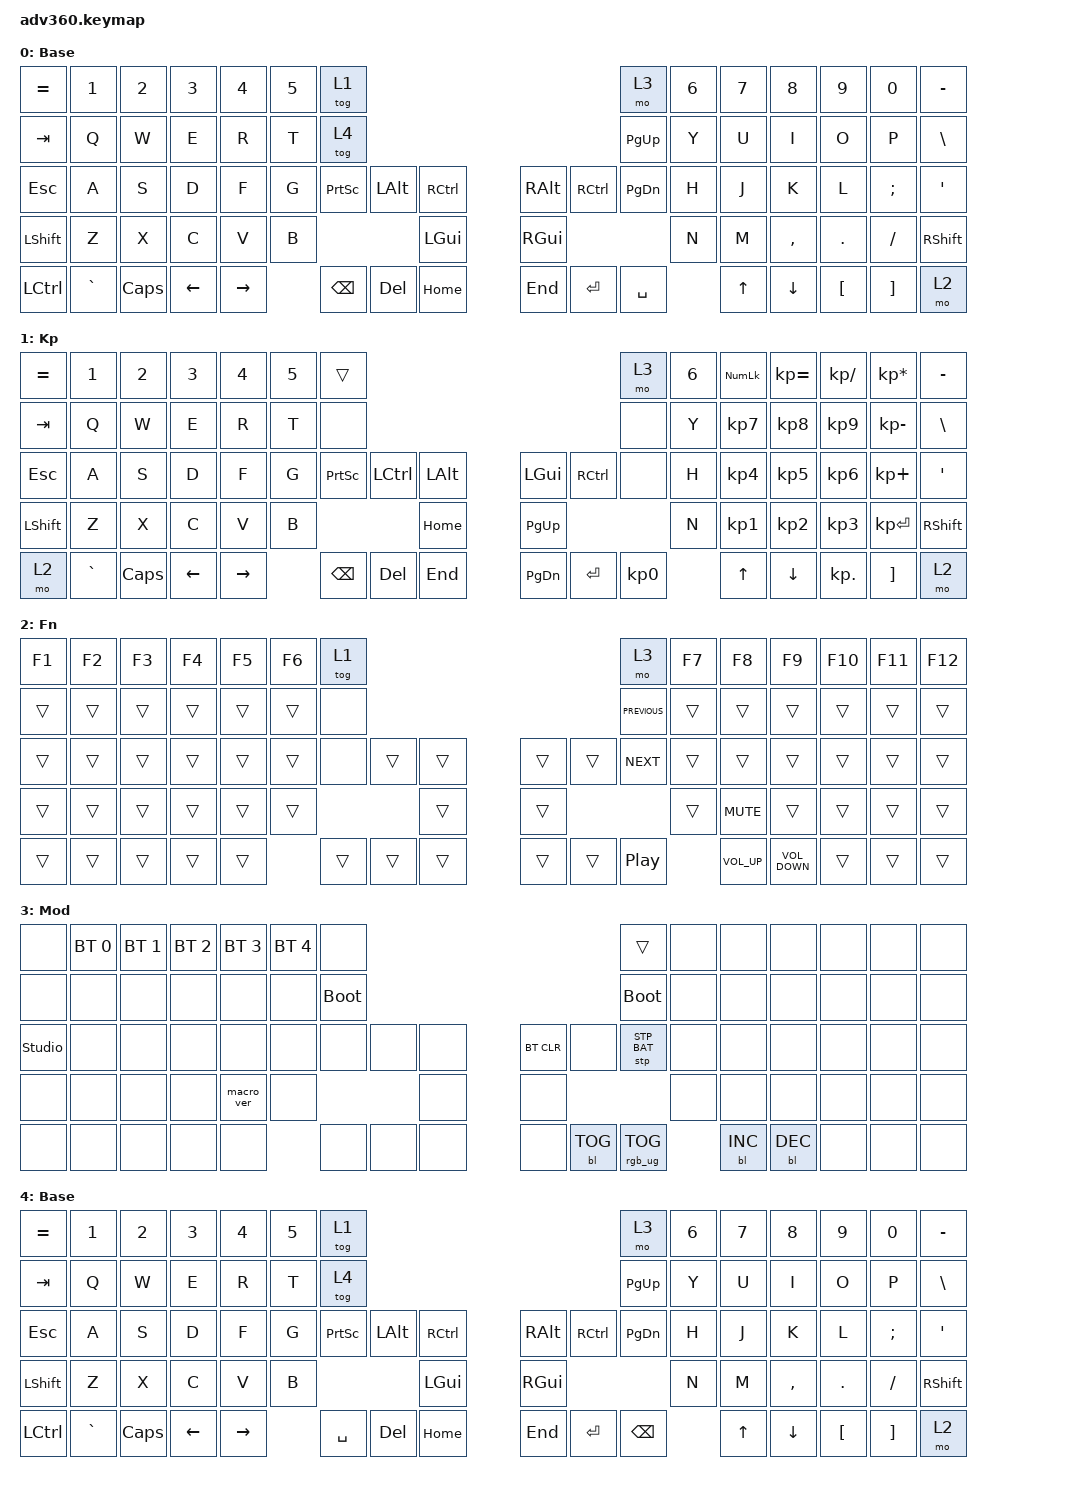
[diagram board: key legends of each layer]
#include <dt-bindings/zmk/stp.h>
#include <behaviors.dtsi>
#include <dt-bindings/zmk/backlight.h>
#include <dt-bindings/zmk/bt.h>
#include <dt-bindings/zmk/keys.h>
#include <dt-bindings/zmk/rgb.h>

/ {
    behaviors {
        #include "macros.dtsi"
      #include "version.dtsi"

        hm: homerow_mods {
            compatible = "zmk,behavior-hold-tap";
            label = "HOMEROW_MODS";
            #binding-cells = <2>;
            tapping-term-ms = <200>;
            quick_tap_ms = <175>;
            flavor = "tap-preferred";
            bindings = <&kp>, <&kp>;
        };
    };

    keymap {
        compatible = "zmk,keymap";

        default_layer {
            display-name = "Base";
            bindings = <
&kp EQUAL         &kp N1     &kp N2    &kp N3    &kp N4     &kp N5  &tog 1                                                                          &mo 3          &kp N6  &kp N7  &kp N8     &kp N9    &kp N0    &kp MINUS
&kp TAB           &kp Q      &kp W     &kp E     &kp R      &kp T   &tog 4                                                                          &kp PAGE_UP    &kp Y   &kp U   &kp I      &kp O     &kp P     &kp BSLH
&kp ESC           &kp A      &kp S     &kp D     &kp F      &kp G   &kp PRINTSCREEN  &kp LEFT_ALT  &kp RIGHT_CONTROL      &kp RIGHT_ALT  &kp RCTRL  &kp PAGE_DOWN  &kp H   &kp J   &kp K      &kp L     &kp SEMI  &kp SQT
&kp LSHFT         &kp Z      &kp X     &kp C     &kp V      &kp B                                  &kp LEFT_GUI           &kp RIGHT_GUI                            &kp N   &kp M   &kp COMMA  &kp DOT   &kp FSLH  &kp RSHFT
&kp LEFT_CONTROL  &kp GRAVE  &kp CAPS  &kp LEFT  &kp RIGHT          &kp BACKSPACE    &kp DEL       &kp HOME               &kp END        &kp ENTER  &kp SPACE              &kp UP  &kp DOWN   &kp LBKT  &kp RBKT  &mo 2
            >;
        };

        keypad {
            display-name = "Kp";
            bindings = <
&kp EQUAL  &kp N1     &kp N2    &kp N3    &kp N4     &kp N5  &trans                                                          &mo 3      &kp N6  &kp KP_NUM  &kp KP_EQUAL  &kp KP_DIVIDE  &kp KP_MULTIPLY  &kp MINUS
&kp TAB    &kp Q      &kp W     &kp E     &kp R      &kp T   &none                                                           &none      &kp Y   &kp KP_N7   &kp KP_N8     &kp KP_N9      &kp KP_MINUS     &kp BSLH
&kp ESC    &kp A      &kp S     &kp D     &kp F      &kp G   &kp PRINTSCREEN  &kp LCTRL  &kp LALT      &kp LGUI   &kp RCTRL  &none      &kp H   &kp KP_N4   &kp KP_N5     &kp KP_N6      &kp KP_PLUS      &kp SQT
&kp LSHFT  &kp Z      &kp X     &kp C     &kp V      &kp B                               &kp HOME      &kp PG_UP                        &kp N   &kp KP_N1   &kp KP_N2     &kp KP_N3      &kp KP_ENTER     &kp RSHFT
&mo 2      &kp GRAVE  &kp CAPS  &kp LEFT  &kp RIGHT          &kp BSPC         &kp DEL    &kp END       &kp PG_DN  &kp ENTER  &kp KP_N0          &kp UP      &kp DOWN      &kp KP_DOT     &kp RBKT         &mo 2
            >;
        };

        fn {
            display-name = "Fn";
            bindings = <
&kp F1  &kp F2  &kp F3  &kp F4  &kp F5  &kp F6  &tog 1                                      &mo 3             &kp F7  &kp F8           &kp F9             &kp F10  &kp F11  &kp F12
&trans  &trans  &trans  &trans  &trans  &trans  &none                                       &kp C_PREVIOUS    &trans  &trans           &trans             &trans   &trans   &trans
&trans  &trans  &trans  &trans  &trans  &trans  &none   &trans  &trans      &trans  &trans  &kp C_NEXT        &trans  &trans           &trans             &trans   &trans   &trans
&trans  &trans  &trans  &trans  &trans  &trans                  &trans      &trans                            &trans  &kp C_MUTE       &trans             &trans   &trans   &trans
&trans  &trans  &trans  &trans  &trans          &trans  &trans  &trans      &trans  &trans  &kp C_PLAY_PAUSE          &kp C_VOLUME_UP  &kp C_VOLUME_DOWN  &trans   &trans   &trans
            >;
        };

        mod {
            display-name = "Mod";
            bindings = <
&none           &bt BT_SEL 0  &bt BT_SEL 1  &bt BT_SEL 2  &bt BT_SEL 3  &bt BT_SEL 4  &none                                                  &trans           &none  &none       &none       &none  &none  &none
&none           &none         &none         &none         &none         &none         &bootloader                                            &bootloader      &none  &none       &none       &none  &none  &none
&studio_unlock  &none         &none         &none         &none         &none         &none        &none  &none      &bt BT_CLR  &none       &stp STP_BAT     &none  &none       &none       &none  &none  &none
&none           &none         &none         &none         &macro_ver    &none                             &none      &none                                    &none  &none       &none       &none  &none  &none
&none           &none         &none         &none         &none                       &none        &none  &none      &none       &bl BL_TOG  &rgb_ug RGB_TOG         &bl BL_INC  &bl BL_DEC  &none  &none  &none
            >;
        };

        layer_4 {
            display-name = "Base";
            bindings = <
&kp EQUAL         &kp N1     &kp N2    &kp N3    &kp N4     &kp N5  &tog 1                                                                          &mo 3          &kp N6  &kp N7  &kp N8     &kp N9    &kp N0    &kp MINUS
&kp TAB           &kp Q      &kp W     &kp E     &kp R      &kp T   &tog 4                                                                          &kp PAGE_UP    &kp Y   &kp U   &kp I      &kp O     &kp P     &kp BSLH
&kp ESC           &kp A      &kp S     &kp D     &kp F      &kp G   &kp PRINTSCREEN  &kp LEFT_ALT  &kp RIGHT_CONTROL      &kp RIGHT_ALT  &kp RCTRL  &kp PAGE_DOWN  &kp H   &kp J   &kp K      &kp L     &kp SEMI  &kp SQT
&kp LSHFT         &kp Z      &kp X     &kp C     &kp V      &kp B                                  &kp LEFT_GUI           &kp RIGHT_GUI                            &kp N   &kp M   &kp COMMA  &kp DOT   &kp FSLH  &kp RSHFT
&kp LEFT_CONTROL  &kp GRAVE  &kp CAPS  &kp LEFT  &kp RIGHT          &kp SPACE        &kp DEL       &kp HOME               &kp END        &kp ENTER  &kp BACKSPACE          &kp UP  &kp DOWN   &kp LBKT  &kp RBKT  &mo 2
            >;
        };
    };
};
